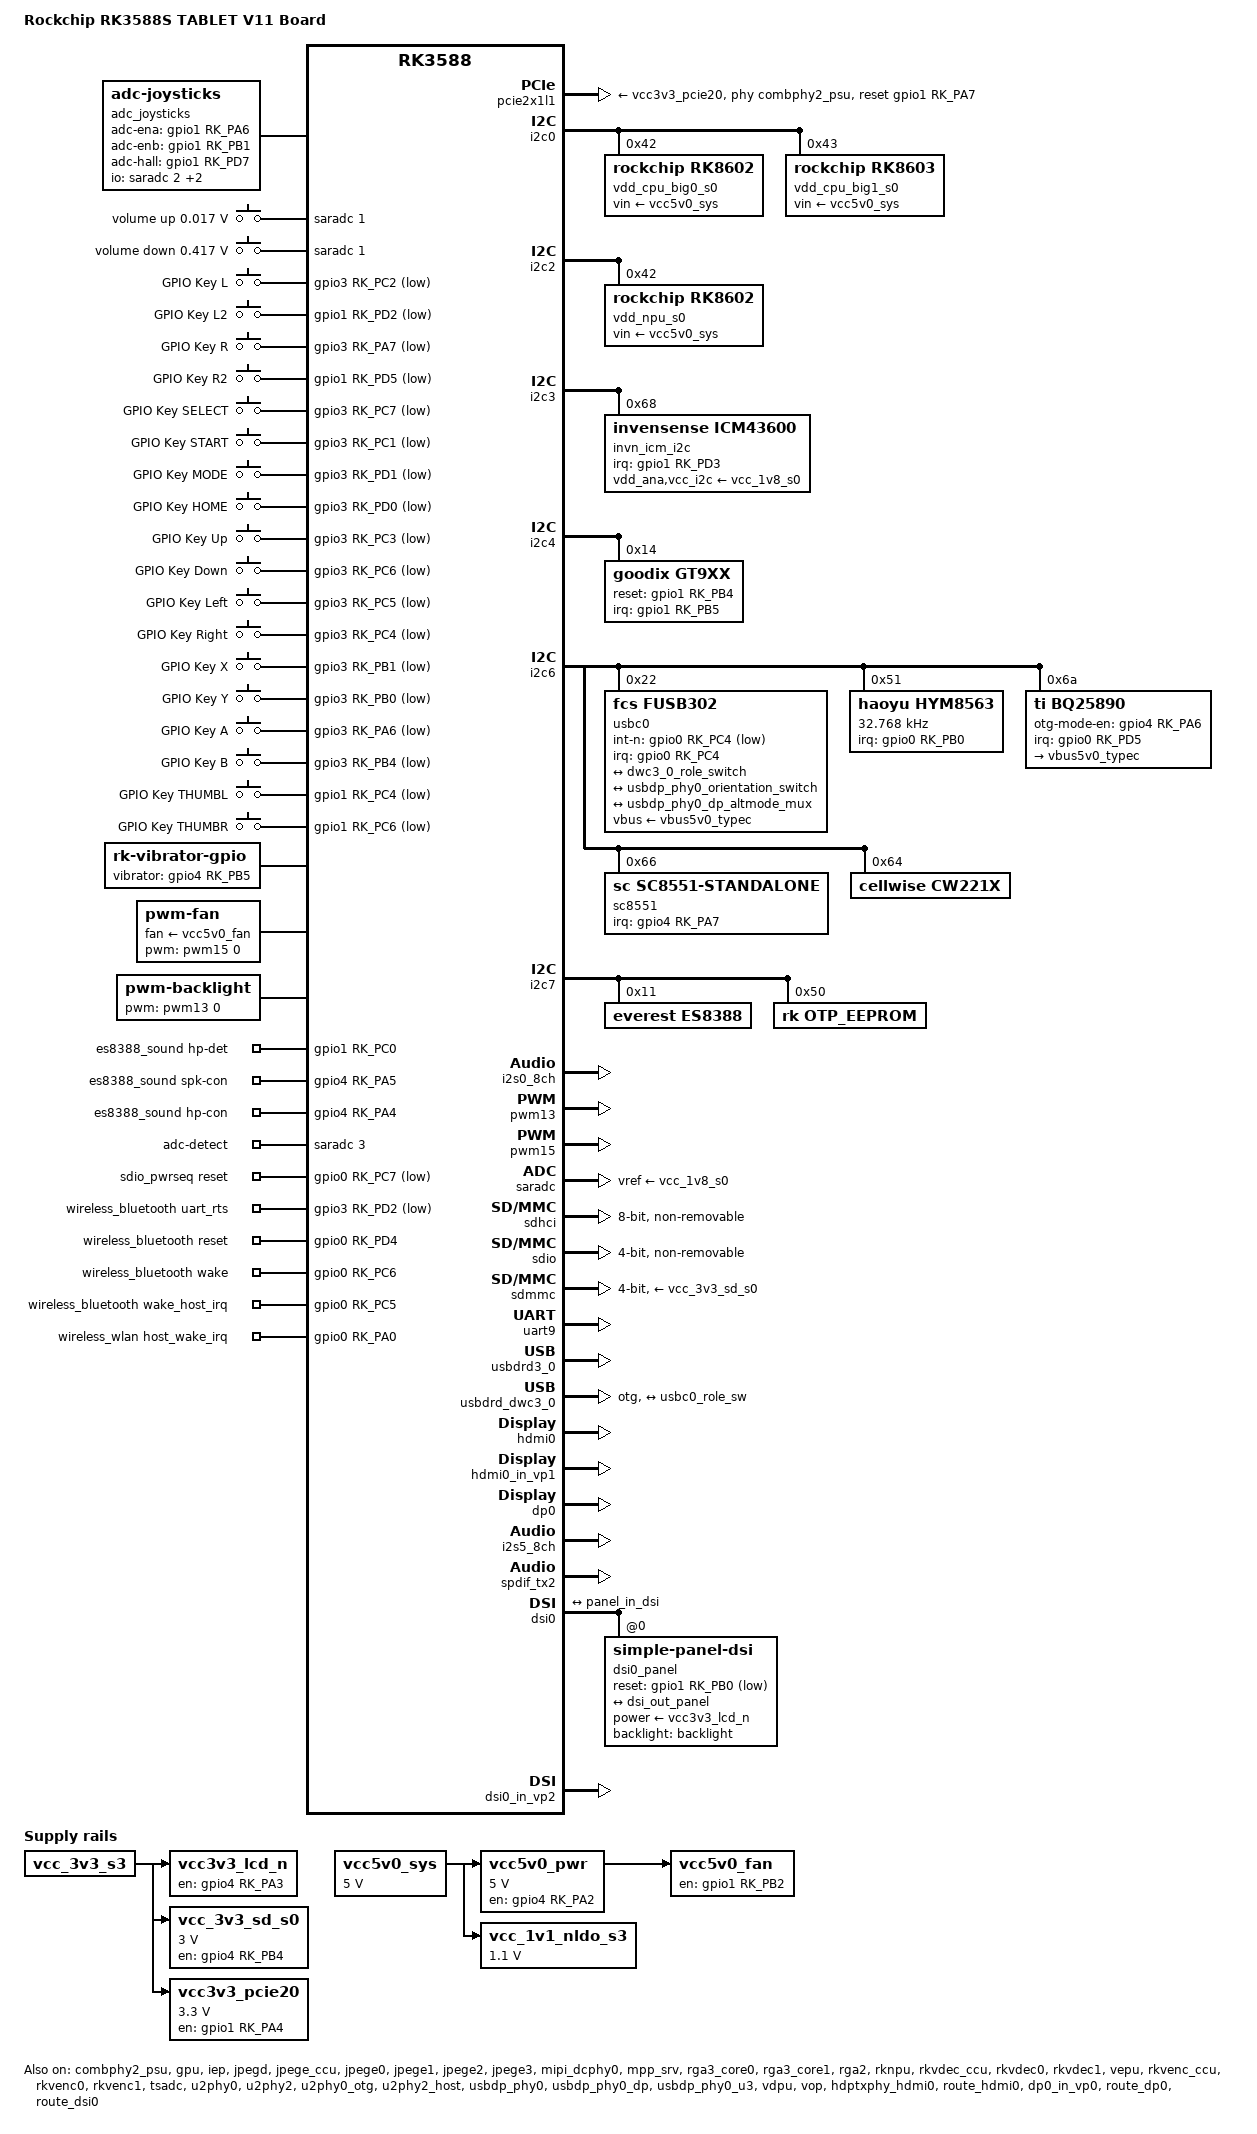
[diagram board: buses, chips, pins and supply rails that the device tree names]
// SPDX-License-Identifier: (GPL-2.0+ OR MIT)
/*
 * Copyright (c) 2021 Rockchip Electronics Co., Ltd.
 *
 */

/dts-v1/;

#include <dt-bindings/gpio/gpio.h>
#include <dt-bindings/pwm/pwm.h>
#include <dt-bindings/pinctrl/rockchip.h>
#include <dt-bindings/input/rk-input.h>
#include <dt-bindings/display/drm_mipi_dsi.h>
#include <dt-bindings/display/rockchip_vop.h>
#include <dt-bindings/sensor-dev.h>
#include <dt-bindings/usb/pd.h>
#include "rk3588s.dtsi"
#include "rk3588-android.dtsi"
#include "rk3588-rk806-single.dtsi"

/ {
	model = "Rockchip RK3588S TABLET V11 Board";
	compatible = "rockchip,rk3588s-tablet-single-D82", "rockchip,rk3588";


	adc_joysticks: adc-joysticks {
		compatible = "adc-joysticks";
		io-channels = <&saradc 2>, <&saradc 4>, <&saradc 5>;
		io-channel-names = "joystick_hall", "joystick_y", "joystick_x";
		adc-ena-gpios = <&gpio1 RK_PA6 GPIO_ACTIVE_HIGH>;
		adc-enb-gpios = <&gpio1 RK_PB1 GPIO_ACTIVE_HIGH>;
		adc-hall-gpios = <&gpio1 RK_PD7 GPIO_ACTIVE_HIGH>;
		keyup-threshold-microvolt = <900000>;
		poll-interval = <35>;
	};

	adc_keys: adc-keys {
		compatible = "adc-keys";
		io-channels = <&saradc 1>;
		io-channel-names = "buttons";
		keyup-threshold-microvolt = <1800000>;
		poll-interval = <100>;

		vol-up-key {
			label = "volume up";
			linux,code = <KEY_VOLUMEUP>;
			press-threshold-microvolt = <17000>;
		};

		vol-down-key {
			label = "volume down";
			linux,code = <KEY_VOLUMEDOWN>;
			press-threshold-microvolt = <417000>;
		};
	};

	gpio_keys: gpio-keys {
		status = "okay";
		compatible = "gpio-keys";
		pinctrl-names = "default";
		pinctrl-0 = <&gpio_key_pin>;
		autorepeat;

		keyL {
			label = "GPIO Key L";
			debounce-interval = <10>;
			gpios = <&gpio3 RK_PC2 GPIO_ACTIVE_LOW>;
			linux,input-type = <EV_KEY>;
			linux,code = <BTN_TL>;
		};

		keyL2 {
			label = "GPIO Key L2";
			debounce-interval = <10>;
			gpios = <&gpio1 RK_PD2 GPIO_ACTIVE_LOW>;
			linux,input-type = <EV_KEY>;
			linux,code = <BTN_TL2>;
		};

		keyR {
			label = "GPIO Key R";
			debounce-interval = <10>;
			gpios = <&gpio3 RK_PA7 GPIO_ACTIVE_LOW>;
			linux,input-type = <EV_KEY>;
			linux,code = <BTN_TR>;
		};

		keyR2 {
			label = "GPIO Key R2";
			debounce-interval = <10>;
			gpios = <&gpio1 RK_PD5 GPIO_ACTIVE_LOW>;
			linux,input-type = <EV_KEY>;
			linux,code = <BTN_TR2>;
		};

		select {
			label = "GPIO Key SELECT";
			debounce-interval = <10>;
			gpios = <&gpio3 RK_PC7 GPIO_ACTIVE_LOW>;
			linux,input-type = <EV_KEY>;
			linux,code = <BTN_SELECT>;
		};

		start {
			label = "GPIO Key START";
			debounce-interval = <10>;
			gpios = <&gpio3 RK_PC1 GPIO_ACTIVE_LOW>;
			linux,input-type = <EV_KEY>;
			linux,code = <BTN_START>;
		};

		mode {
			label = "GPIO Key MODE";
			debounce-interval = <10>;
			gpios = <&gpio3 RK_PD1 GPIO_ACTIVE_LOW>;
			linux,input-type = <EV_KEY>;
			linux,code = <BTN_MODE>;
		};

		home-key {
			label = "GPIO Key HOME";
			debounce-interval = <10>;
			gpios = <&gpio3 RK_PD0 GPIO_ACTIVE_LOW>;
			linux,input-type = <EV_KEY>;
			// linux,code = <KEY_HOME>;
			linux,code = <KEY_HOMEPAGE>;
		};

		up {
			label = "GPIO Key Up";
			debounce-interval = <10>;
			gpios = <&gpio3 RK_PC3 GPIO_ACTIVE_LOW>;
			linux,input-type = <EV_KEY>;
			linux,code = <KEY_UP>;
		};

		down {
			label = "GPIO Key Down";
			debounce-interval = <10>;
			gpios = <&gpio3 RK_PC6 GPIO_ACTIVE_LOW>;
			linux,input-type = <EV_KEY>;
			linux,code = <KEY_DOWN>;
		};

		left {
			label = "GPIO Key Left";
			debounce-interval = <10>;
			gpios = <&gpio3 RK_PC5 GPIO_ACTIVE_LOW>;
			linux,input-type = <EV_KEY>;
			linux,code = <KEY_LEFT>;
		};

		right {
			label = "GPIO Key Right";
			debounce-interval = <10>;
			gpios = <&gpio3 RK_PC4 GPIO_ACTIVE_LOW>;
			linux,input-type = <EV_KEY>;
			linux,code = <KEY_RIGHT>;
		};

		keyX {
			label = "GPIO Key X";
			debounce-interval = <10>;
			gpios = <&gpio3 RK_PB1 GPIO_ACTIVE_LOW>;
			linux,input-type = <EV_KEY>;
			linux,code = <BTN_X>;
		};

		keyY {
			label = "GPIO Key Y";
			debounce-interval = <10>;
			gpios = <&gpio3 RK_PB0 GPIO_ACTIVE_LOW>;
			linux,input-type = <EV_KEY>;
			linux,code = <BTN_Y>;
		};

		keyA {
			label = "GPIO Key A";
			debounce-interval = <10>;
			gpios = <&gpio3 RK_PA6 GPIO_ACTIVE_LOW>;
			linux,input-type = <EV_KEY>;
			linux,code = <BTN_A>;
		};

		keyB {
			label = "GPIO Key B";
			debounce-interval = <10>;
			gpios = <&gpio3 RK_PB4 GPIO_ACTIVE_LOW>;
			linux,input-type = <EV_KEY>;
			linux,code = <BTN_B>;
		};

		ThumbL {
			label = "GPIO Key THUMBL";
			debounce-interval = <10>;
			gpios = <&gpio1 RK_PC4 GPIO_ACTIVE_LOW>;
			linux,input-type = <EV_KEY>;
			linux,code = <BTN_THUMBL>;
		};

		ThumbR {
			label = "GPIO Key THUMBR";
			debounce-interval = <10>;
			gpios = <&gpio1 RK_PC6 GPIO_ACTIVE_LOW>;
			linux,input-type = <EV_KEY>;
			linux,code = <BTN_THUMBR>;
		};
	};

	vibrator {
        compatible = "rk-vibrator-gpio";
        vibrator-gpio = <&gpio4 RK_PB5 GPIO_ACTIVE_HIGH>;
    };

	fan: pwm-fan {
		compatible = "pwm-fan";
		#cooling-cells = <2>;
		pwms = <&pwm15 0 50000 1>;
		fan-supply = <&vcc5v0_fan>;
		cooling-levels = <0 100 150 200 255>;
		rockchip,temp-trips = <
			40000	1
			55000	2
			60000	3
			70000	4
		>;
		status = "okay";
	};

	backlight: backlight {
		compatible = "pwm-backlight";
		pwms = <&pwm13 0 25000 0>;
		brightness-levels = <
			  0  20  20  21  21  22  22  23
			 23  24  24  25  25  26  26  27
			 27  28  28  29  29  30  30  31
			 31  32  32  33  33  34  34  35
			 35  36  36  37  37  38  38  39
			 40  41  42  43  44  45  46  47
			 48  49  50  51  52  53  54  55
			 56  57  58  59  60  61  62  63
			 64  65  66  67  68  69  70  71
			 72  73  74  75  76  77  78  79
			 80  81  82  83  84  85  86  87
			 88  89  90  91  92  93  94  95
			 96  97  98  99 100 101 102 103
			104 105 106 107 108 109 110 111
			112 113 114 115 116 117 118 119
			120 121 122 123 124 125 126 127
			128 129 130 131 132 133 134 135
			136 137 138 139 140 141 142 143
			144 145 146 147 148 149 150 151
			152 153 154 155 156 157 158 159
			160 161 162 163 164 165 166 167
			168 169 170 171 172 173 174 175
			176 177 178 179 180 181 182 183
			184 185 186 187 188 189 190 191
			192 193 194 195 196 197 198 199
			200 201 202 203 204 205 206 207
			208 209 210 211 212 213 214 215
			216 217 218 219 220 221 222 223
			224 225 226 227 228 229 230 231
			232 233 234 235 236 237 238 239
			240 241 242 243 244 245 246 247
			248 249 250 251 252 253 254 255
		>;
		default-brightness-level = <200>;
	};

	charge-animation {
		compatible = "rockchip,uboot-charge";
		rockchip,uboot-charge-on = <0>;
		rockchip,android-charge-on = <1>;
		rockchip,uboot-low-power-voltage = <3400>;
		rockchip,screen-on-voltage = <3450>;
		rockchip,uboot-exit-charge-level = <2>;
		rockchip,uboot-exit-charge-voltage = <3600>;
		rockchip,uboot-exit-charge-auto = <0>;
		rockchip,system-suspend = <1>;
		regulator-on-in-mem = <&vdd_log_s0>, <&vcc_2v0_pldo_s3>,
			<&vdd2_ddr_s3>, <&vcc_1v8_s3>, <&avcc_1v8_s0>,
			<&vdd_0v75_s3>, <&pldo6_s3>;

		regulator-off-in-mem = <&vdd_gpu_s0>, <&vdd_npu_s0>,
			<&vdd_vdenc_s0>, <&vdd_gpu_mem_s0>, <&vdd_npu_mem_s0>,
			<&vdd_vdenc_mem_s0>, <&vcc_1v8_s0>, <&vcc_3v3_s0>,
			<&vccio_sd_s0>, <&avdd_0v75_s0>, <&vdd_0v85_s0>,
			<&vdd_cpu_big1_s0>, <&vdd_cpu_big0_s0>, <&vdd_cpu_lit_s0>,
			<&vdd_cpu_big1_mem_s0>, <&vdd_cpu_big0_mem_s0>, <&vdd_cpu_lit_mem_s0>,
			<&vddq_ddr_s0>, <&vdd_ddr_s0>, <&vdd_ddr_pll_s0>,
			<&avdd_1v2_s0>, <&vdd_0v75_s0>, <&vcc_3v3_s3>;
		status = "okay";
	};

	hdmi0_sound: hdmi0-sound {
		status = "okay";
		compatible = "rockchip,hdmi";
		rockchip,mclk-fs = <128>;
		rockchip,card-name = "rockchip-hdmi0";
		rockchip,cpu = <&i2s5_8ch>;
		rockchip,codec = <&hdmi0>;
		rockchip,jack-det;
	};

	dp0_sound: dp0-sound {
		status = "okay";
		compatible = "rockchip,hdmi";
		rockchip,card-name= "rockchip-hdmi1";
		rockchip,mclk-fs = <512>;
		rockchip,cpu = <&spdif_tx2>;
		rockchip,codec = <&dp0 1>;
		rockchip,jack-det;
	};

	es8388_sound: es8388-sound {
		status = "okay";
		compatible = "rockchip,multicodecs-card";
		rockchip,card-name = "rockchip,es8388-codec";
		hp-det-gpio = <&gpio1 RK_PC0 GPIO_ACTIVE_HIGH>;
		io-channels = <&saradc 3>;
		io-channel-names = "adc-detect";
		keyup-threshold-microvolt = <1800000>;
		poll-interval = <100>;
		spk-con-gpio = <&gpio4 RK_PA5 GPIO_ACTIVE_HIGH>;
		hp-con-gpio = <&gpio4 RK_PA4 GPIO_ACTIVE_HIGH>;
		rockchip,format = "i2s";
		rockchip,mclk-fs = <256>;
		rockchip,cpu = <&i2s0_8ch>;
		rockchip,codec = <&es8388>;
		rockchip,audio-routing =
			"Headphone", "LOUT1",
			"Headphone", "ROUT1",
			"Speaker", "LOUT2",
			"Speaker", "ROUT2",
			"Headphone", "Headphone Power",
			"Headphone", "Headphone Power",
			"Speaker", "Speaker Power",
			"Speaker", "Speaker Power",
			"LINPUT1", "Main Mic",
			"LINPUT2", "Main Mic",
			"RINPUT1", "Headset Mic",
			"RINPUT2", "Headset Mic";
		pinctrl-names = "default";
		pinctrl-0 = <&hp_det>;
		play-pause-key {
			label = "playpause";
			linux,code = <KEY_PLAYPAUSE>;
			press-threshold-microvolt = <2000>;
		};
	};

	vcc5v0_sys: vcc5v0-sys {
		compatible = "regulator-fixed";
		regulator-name = "vcc5v0_sys";
		regulator-always-on;
		regulator-boot-on;
		regulator-min-microvolt = <5000000>;
		regulator-max-microvolt = <5000000>;
	};

	vcc5v0_pwr: vcc5v0-pwr {
		compatible = "regulator-fixed";
		regulator-name = "vcc5v0_pwr";
		regulator-always-on;
		regulator-boot-on;
		regulator-min-microvolt = <5000000>;
		regulator-max-microvolt = <5000000>;
		enable-active-high;
		gpio = <&gpio4 RK_PA2 GPIO_ACTIVE_HIGH>;
		vin-supply = <&vcc5v0_sys>;
		pinctrl-names = "default";
		pinctrl-0 = <&vcc5v0_pwr_en>;
	};

	vcc5v0_fan: vcc5v0-fan {
		compatible = "regulator-fixed";
		regulator-name = "vcc5v0_fan";
		regulator-always-on;
		regulator-boot-on;
		enable-active-high;
		gpio = <&gpio1 RK_PB2 GPIO_ACTIVE_HIGH>;
		vin-supply = <&vcc5v0_pwr>;
	};

	vcc_1v1_nldo_s3: vcc-1v1-nldo-s3 {
		compatible = "regulator-fixed";
		regulator-name = "vcc_1v1_nldo_s3";
		regulator-always-on;
		regulator-boot-on;
		regulator-min-microvolt = <1100000>;
		regulator-max-microvolt = <1100000>;
		vin-supply = <&vcc5v0_sys>;
	};

	vcc3v3_lcd_n: vcc3v3-lcd0-n {
		compatible = "regulator-fixed";
		regulator-name = "vcc3v3_lcd0_n";
		regulator-boot-on;
		gpio = <&gpio4 RK_PA3 GPIO_ACTIVE_HIGH>;
		enable-active-high;
		vin-supply = <&vcc_3v3_s3>;
	};
	
	vcc_3v3_sd_s0: vcc-3v3-sd-s0-regulator {
		compatible = "regulator-fixed";
		enable-active-high;
		gpio = <&gpio4 RK_PB4 GPIO_ACTIVE_HIGH>;
		pinctrl-names = "default";
		pinctrl-0 = <&sd_s0_pwr>;
		regulator-always-on;
		regulator-max-microvolt = <3000000>;
		regulator-min-microvolt = <3000000>;
		regulator-name = "vcc_3v3_sd_s0";
		vin-supply = <&vcc_3v3_s3>;
	};

	vcc3v3_pcie20: vcc3v3-pcie20 {
		compatible = "regulator-fixed";
		regulator-name = "vcc3v3_pcie20";
		regulator-min-microvolt = <3300000>;
		regulator-max-microvolt = <3300000>;
		enable-active-high;
		gpios = <&gpio1 RK_PA4 GPIO_ACTIVE_HIGH>;
		startup-delay-us = <5000>;
		vin-supply = <&vcc_3v3_s3>;
	};

	sdio_pwrseq: sdio-pwrseq {
		compatible = "mmc-pwrseq-simple";
		clocks = <&hym8563>;
		clock-names = "ext_clock";
		pinctrl-names = "default";
		pinctrl-0 = <&wifi_enable_h>;
		/*
		 * On the module itself this is one of these (depending
		 * on the actual card populated):
		 * - SDIO_RESET_L_WL_REG_ON
		 * - PDN (power down when low)
		 */
		post-power-on-delay-ms = <200>;
		reset-gpios = <&gpio0 RK_PC7 GPIO_ACTIVE_LOW>;
	};

	wireless_bluetooth: wireless-bluetooth {
		compatible = "bluetooth-platdata";
		clocks = <&hym8563>;
		clock-names = "ext_clock";
		uart_rts_gpios = <&gpio3 RK_PD2 GPIO_ACTIVE_LOW>;
		pinctrl-names = "default", "rts_gpio";
		pinctrl-0 = <&uart9m2_rtsn>, <&bt_reset_gpio>, <&bt_wake_gpio>, <&bt_irq_gpio>;
		pinctrl-1 = <&uart9_gpios>;
		BT,reset_gpio    = <&gpio0 RK_PD4 GPIO_ACTIVE_HIGH>;
		BT,wake_gpio     = <&gpio0 RK_PC6 GPIO_ACTIVE_HIGH>;
		BT,wake_host_irq = <&gpio0 RK_PC5 GPIO_ACTIVE_HIGH>;
		status = "okay";
	};

	wireless_wlan: wireless-wlan {
		compatible = "wlan-platdata";
		wifi_chip_type = "rtl8821cs";
		pinctrl-names = "default";
		pinctrl-0 = <&wifi_host_wake_irq>;
		WIFI,host_wake_irq = <&gpio0 RK_PA0 GPIO_ACTIVE_HIGH>;
		// WIFI,poweren_gpio = <&gpio0 RK_PC7 GPIO_ACTIVE_HIGH>;
		status = "okay";
	};
};

&av1d_mmu {
	status = "okay";
};

&combphy2_psu {
	status = "okay";
};

&pcie2x1l1 {
	phys = <&combphy2_psu PHY_TYPE_PCIE>;
	reset-gpios = <&gpio1 RK_PA7 GPIO_ACTIVE_HIGH>;
	vpcie3v3-supply = <&vcc3v3_pcie20>;
	status = "okay";
};

&cpu_l0 {
	cpu-supply = <&vdd_cpu_lit_s0>;
	mem-supply = <&vdd_cpu_lit_mem_s0>;
};

&cpu_b0 {
	cpu-supply = <&vdd_cpu_big0_s0>;
	mem-supply = <&vdd_cpu_big0_mem_s0>;
};

&cpu_b2 {
	cpu-supply = <&vdd_cpu_big1_s0>;
	mem-supply = <&vdd_cpu_big1_mem_s0>;
};


&gpu {
	mali-supply = <&vdd_gpu_s0>;
	mem-supply = <&vdd_gpu_mem_s0>;
	upthreshold = <60>;
	downdifferential = <30>;
	status = "okay";
};

&hdptxphy0 {
	status = "disabled";
};

&i2c0 {
	status = "okay";
	pinctrl-names = "default";
	pinctrl-0 = <&i2c0m2_xfer>;

	vdd_cpu_big0_s0: vdd_cpu_big0_mem_s0: rk8602@42 {
		compatible = "rockchip,rk8602";
		reg = <0x42>;
		vin-supply = <&vcc5v0_sys>;
		regulator-compatible = "rk860x-reg";
		regulator-name = "vdd_cpu_big0_s0";
		regulator-min-microvolt = <550000>;
		regulator-max-microvolt = <1050000>;
		regulator-ramp-delay = <2300>;
		rockchip,suspend-voltage-selector = <1>;
		regulator-boot-on;
		regulator-always-on;
		regulator-state-mem {
			regulator-off-in-suspend;
		};
	};

	vdd_cpu_big1_s0: vdd_cpu_big1_mem_s0: rk8603@43 {
		compatible = "rockchip,rk8603";
		reg = <0x43>;
		vin-supply = <&vcc5v0_sys>;
		regulator-compatible = "rk860x-reg";
		regulator-name = "vdd_cpu_big1_s0";
		regulator-min-microvolt = <550000>;
		regulator-max-microvolt = <1050000>;
		regulator-ramp-delay = <2300>;
		rockchip,suspend-voltage-selector = <1>;
		regulator-boot-on;
		regulator-always-on;
		regulator-state-mem {
			regulator-off-in-suspend;
		};
	};
};

&i2c2 {
	status = "okay";
	
	vdd_npu_s0: vdd_npu_mem_s0: rk8602@42 {
		compatible = "rockchip,rk8602";
		reg = <0x42>;
		vin-supply = <&vcc5v0_sys>;
		regulator-compatible = "rk860x-reg";
		regulator-name = "vdd_npu_s0";
		regulator-min-microvolt = <550000>;
		regulator-max-microvolt = <950000>;
		regulator-ramp-delay = <2300>;
		rockchip,suspend-voltage-selector = <1>;
		regulator-boot-on;
		regulator-always-on;
		regulator-state-mem {
			regulator-off-in-suspend;
		};
	};
};

&i2c3 {
	status = "okay";
	pinctrl-names = "default";
	pinctrl-0 = <&i2c3m1_xfer>;

	invn_icm_i2c: icm43600@68 {
		compatible = "invensense,icm43600";
		reg = <0x68>;
		interrupt-parent = <&gpio1>;
		interrupts = <RK_PD3 IRQ_TYPE_EDGE_RISING>;
		inven,vdd_ana-supply = <&vcc_1v8_s0>;
		inven,vcc_i2c-supply = <&vcc_1v8_s0>;
		axis_map_x = <0>;
		axis_map_y = <1>;
		axis_map_z = <2>;
		negate_x = <1>;
		negate_y = <1>;
		negate_z = <0>;
		inven,secondary_type = "none";
		inven,aux_type = "none";
		inven,read_only_slave_type = "none";
	};
};

&i2c4 {
	status = "okay";
	pinctrl-names = "default";
	pinctrl-0 = <&i2c4m3_xfer>;

	gt9xx: gt9xx@14 {
		status = "okay";
		compatible = "goodix,gt9xx";
		reg = <0x14>;

		pinctrl-names = "default", "int-output-low","int-output-high", "int-input";
		pinctrl-0 = <&ts_int_default>;
		pinctrl-1 = <&ts_int_output_low>;
		pinctrl-2 = <&ts_int_output_high>;
		pinctrl-3 = <&ts_int_input>;

		reset-gpios = <&gpio1 RK_PB4 GPIO_ACTIVE_HIGH>;
		irq-gpios = <&gpio1 RK_PB5 IRQ_TYPE_LEVEL_LOW>;
		irq-flags = <2>;

		touchscreen-max-id = <4>;
		touchscreen-size-x = <1080>;
		touchscreen-size-y = <1920>;
		touchscreen-max-w = <512>;
		touchscreen-max-p = <512>;
		// touchscreen-key-map = <172>, <158>; /*KEY_HOMEPAGE=172, KEY_BACK=158，KEY_MENU=139*/

		goodix,slide-wakeup = <0>;
		goodix,type-a-report = <0>;
		goodix,driver-send-cfg = <0>;
		goodix,resume-in-workqueue = <0>;
		goodix,int-sync = <1>;
		goodix,swap-x2y = <0>;
		goodix,revert-x = <0>;
		goodix,revert-y = <1>;
		goodix,esd-protect = <1>;
		goodix,auto-update-cfg = <0>;
		goodix,auto-update = <0>;
		goodix,power-off-sleep = <0>;
		goodix,pen-suppress-finger = <0>;
		goodix,cfg-group0 = [
			53 D0 02 00 05 05 F5 D5 21 48 2D 0F 5A 41 0E 05 00 00 32 32 20 00 05 14 14 1A 14 8B 2B 00
		];
	};
};

&i2c5 {
	status = "disabled";
	pinctrl-names = "default";
	pinctrl-0 = <&i2c5m3_xfer>;
};

&i2c6 {
	status = "okay";
	pinctrl-names = "default";
	pinctrl-0 = <&i2c6m3_xfer>;

	usbc0: fusb302@22 {
		compatible = "fcs,fusb302";
		reg = <0x22>;
		interrupt-parent = <&gpio0>;
		interrupts = <RK_PC4 IRQ_TYPE_LEVEL_LOW>;
		int-n-gpios = <&gpio0 RK_PC4 GPIO_ACTIVE_LOW>;
		pinctrl-names = "default";
		pinctrl-0 = <&usbc0_int>;
		vbus-supply = <&vbus5v0_typec>;
		status = "okay";

		ports {
			#address-cells = <1>;
			#size-cells = <0>;

			port@0 {
				reg = <0>;
				usbc0_role_sw: endpoint@0 {
					remote-endpoint = <&dwc3_0_role_switch>;
				};
			};
		};

		usb_con: connector {
			compatible = "usb-c-connector";
			label = "USB-C";
			data-role = "dual";
			power-role = "dual";
			try-power-role = "sink";
			op-sink-microwatt = <1000000>;
			sink-pdos =
				<PDO_FIXED(5000, 2000, PDO_FIXED_USB_COMM)
				 PDO_FIXED(9000, 2000, PDO_FIXED_USB_COMM)
				 PDO_FIXED(12000, 2000, PDO_FIXED_USB_COMM)>;
			source-pdos =
				<PDO_FIXED(5000, 3000, PDO_FIXED_USB_COMM)>;

			altmodes {
				#address-cells = <1>;
				#size-cells = <0>;

				altmode@0 {
					reg = <0>;
					svid = <0xff01>;
					vdo = <0xffffffff>;
				};
			};

			ports {
				#address-cells = <1>;
				#size-cells = <0>;

				port@0 {
					reg = <0>;
					usbc0_orien_sw: endpoint {
						remote-endpoint = <&usbdp_phy0_orientation_switch>;
					};
				};

				port@1 {
					reg = <1>;
					dp_altmode_mux: endpoint {
						remote-endpoint = <&usbdp_phy0_dp_altmode_mux>;
					};
				};
			};
		};
	};

	hym8563: hym8563@51 {
		compatible = "haoyu,hym8563";
		reg = <0x51>;
		#clock-cells = <0>;
		clock-frequency = <32768>;
		clock-output-names = "hym8563";
		pinctrl-names = "default";
		pinctrl-0 = <&rtc_int>;

		interrupt-parent = <&gpio0>;
		interrupts = <RK_PB0 IRQ_TYPE_LEVEL_LOW>;
		wakeup-source;
	};

	bq25890: charger@6a {
		compatible = "ti,bq25890";
		status = "okay";
		reg = <0x6a>;
		extcon = <&u2phy0>;
		pinctrl-names = "default";
		pinctrl-0 = <&charger_ok>;
		interrupt-parent = <&gpio0>;
		interrupts = <RK_PD5 IRQ_TYPE_EDGE_FALLING>;
		otg-mode-en-gpios = <&gpio4 RK_PA6 GPIO_ACTIVE_HIGH>;
		ti,usb-charger-detection = <&usbc0>;

		ti,battery-regulation-voltage = <4400000>; /* 4.4V */
		ti,charge-current = <4096000>; /* 1.6A */
		ti,termination-current = <66000>;  /* 66mA */
		ti,precharge-current = <130000>; /* 130mA */
		ti,minimum-sys-voltage = <3000000>; /* 3.0V */
		ti,boost-voltage = <5000000>; /* 5V */
		ti,boost-max-current = <2000000>; /* 1600mA */
		regulators {
			vbus5v0_typec: vbus5v0-typec {
				regulator-compatible = "otg-vbus";
				regulator-name = "vbus5v0_typec";
			};
		};
    };

	sc8551: sc8551@66 {
		status = "okay";
		compatible = "sc,sc8551-standalone";
		reg = <0x66>;
		interrupt-parent = <&gpio4>;
		interrupts = <RK_PA7 IRQ_TYPE_EDGE_FALLING>;

		sc,sc8551,bat-ovp-disable = <0>;
		sc,sc8551,bat-ocp-disable = <0>;
		sc,sc8551,bus-ocp-disable = <0>;

		sc,sc8551,bat-ovp-threshold = <4500>;
		sc,sc8551,bat-ocp-threshold = <4500>;

		sc,sc8551,bus-ovp-threshold = <12000>;
		sc,sc8551,bus-ocp-threshold = <4000>;

		sc,sc8551,ac-ovp-threshold = <17>;
		sc,sc8551,sense-resistor-mohm = <2>;
	};

	cw221X@64 {
		status = "okay";
		compatible = "cellwise,cw221X";
		reg = <0x64>;
		cellwise,battery-profile = /bits/ 8
			<0x17 0x67 0x6C 0x66 0x65 0x64 0x61 0x5B
			 0x5F 0x75 0x49 0x52 0x50 0x51 0x48 0x3D
			 0x34 0x2C 0x29 0x21 0x23 0x2D 0x40 0x49
			 0x25 0x5C 0x0B 0x85 0x10 0x1F 0x31 0x49
			 0x58 0x5E 0x63 0x6C 0x3E 0x1D 0x9A 0x35
			 0x0A 0x33 0x15 0x3B 0x70 0x99 0xAB 0x17
			 0x40 0x75 0x99 0xC4 0x80 0xB5 0xDE 0xCB
			 0x2F 0x00 0x64 0xA5 0xB5 0x00 0xF8 0x39>;
		cellwise,dual-cell = <1>;
		cellwise,monitor-interval-ms = <5000>;
		power-supplies = <&bq25890>;
	};
};

&i2c7 {
	status = "okay";
	pinctrl-names = "default";
	pinctrl-0 = <&i2c7m0_xfer>;

	es8388: es8388@11 {
		status = "okay";
		#sound-dai-cells = <0>;
		compatible = "everest,es8388", "everest,es8323";
		reg = <0x11>;
		clocks = <&cru I2S0_8CH_MCLKOUT>;
		clock-names = "mclk";
		assigned-clocks = <&cru I2S0_8CH_MCLKOUT>;
		assigned-clock-rates = <12288000>;
		pinctrl-names = "default";
		pinctrl-0 = <&i2s0_mclk>;
	};

	otp_eeprom: otp_eeprom@50 {
		compatible = "rk,otp_eeprom";
		status = "okay";
		reg = <0x50>;
	};
};

&i2c8 {
	status = "disabled";
	pinctrl-names = "default";
	pinctrl-0 = <&i2c8m2_xfer>;
};

&i2s0_8ch {
	status = "okay";
	rockchip,clk-trcm = <1>;
	pinctrl-0 = <&i2s0_lrck
		     &i2s0_sclk
		     &i2s0_sdi0
		     &i2s0_sdo0>;
};

&iep {
	status = "okay";
};

&iep_mmu {
	status = "okay";
};

&jpegd {
	status = "okay";
};

&jpegd_mmu {
	status = "okay";
};

&jpege_ccu {
	status = "okay";
};

&jpege0 {
	status = "okay";
};

&jpege0_mmu {
	status = "okay";
};

&jpege1 {
	status = "okay";
};

&jpege1_mmu {
	status = "okay";
};

&jpege2 {
	status = "okay";
};

&jpege2_mmu {
	status = "okay";
};

&jpege3 {
	status = "okay";
};

&jpege3_mmu {
	status = "okay";
};

&mipi_dcphy0 {
	status = "okay";
};

&mipi_dcphy1 {
	status = "disabled";
};

&mipi0_csi2 {
	status = "disabled";
};

&mipi1_csi2 {
	status = "disabled";
};

&mpp_srv {
	status = "okay";
};

&pdm0 {
	// rockchip,path-map = <2 0 1 3>;
	status = "disabled";
};

&pinctrl {
	buttons {
		gpio_key_pin: gpio-key-pin {
			rockchip,pins = //<1 RK_PC4 RK_FUNC_GPIO &pcfg_pull_up>,
			                //<1 RK_PC6 RK_FUNC_GPIO &pcfg_pull_up>,
			                <1 RK_PD2 RK_FUNC_GPIO &pcfg_pull_up>,
			                <1 RK_PD5 RK_FUNC_GPIO &pcfg_pull_up>,
			                <3 RK_PA6 RK_FUNC_GPIO &pcfg_pull_up>,
			                <3 RK_PA7 RK_FUNC_GPIO &pcfg_pull_up>,
			                <3 RK_PB0 RK_FUNC_GPIO &pcfg_pull_up>,
			                <3 RK_PB1 RK_FUNC_GPIO &pcfg_pull_up>,
			                <3 RK_PB4 RK_FUNC_GPIO &pcfg_pull_up>,
			                <3 RK_PC1 RK_FUNC_GPIO &pcfg_pull_up>,
			                <3 RK_PC2 RK_FUNC_GPIO &pcfg_pull_up>,
			                <3 RK_PC3 RK_FUNC_GPIO &pcfg_pull_up>,
			                <3 RK_PC4 RK_FUNC_GPIO &pcfg_pull_up>,
			                <3 RK_PC5 RK_FUNC_GPIO &pcfg_pull_up>,
			                <3 RK_PC6 RK_FUNC_GPIO &pcfg_pull_up>,
			                <3 RK_PC7 RK_FUNC_GPIO &pcfg_pull_up>,
			                <3 RK_PD0 RK_FUNC_GPIO &pcfg_pull_up>,
			                <3 RK_PD1 RK_FUNC_GPIO &pcfg_pull_up>;
		};
	};

	charger {
		charger_ok: charger_ok {
			rockchip,pins = <0 RK_PD5 RK_FUNC_GPIO &pcfg_pull_up>;
		};
	};

	headphone {
		hp_det: hp-det {
			rockchip,pins = <1 RK_PC0 RK_FUNC_GPIO &pcfg_pull_none>;
		};
	};

	hym8563 {
		rtc_int: rtc-int {
			rockchip,pins = <0 RK_PB0 RK_FUNC_GPIO &pcfg_pull_up>;
		};
	};

	sdio-pwrseq {
		wifi_enable_h: wifi-enable-h {
			rockchip,pins = <0 RK_PC7 RK_FUNC_GPIO &pcfg_pull_none>;
		};
	};

	sdmmc {
		sd_s0_pwr: sd-s0-pwr {
			rockchip,pins = <4 RK_PB4 RK_FUNC_GPIO &pcfg_pull_up>;
		};
	};

	gt9xx {
		ts_int_default: ts-int-default {
			rockchip,pins = <1 RK_PB5 RK_FUNC_GPIO &pcfg_pull_up>;
		};

		ts_int_output_low: ts-int-output-low {
			rockchip,pins = <1 RK_PB5 RK_FUNC_GPIO &pcfg_output_low_pull_up>;
		};

		ts_int_output_high: ts-int-output-high {
			rockchip,pins = <1 RK_PB5 RK_FUNC_GPIO &pcfg_output_high_pull_up>;
		};

		ts_int_input: ts-int-input {
			rockchip,pins = <1 RK_PB5 RK_FUNC_GPIO &pcfg_pull_up>;
		};
	};

	power {
		vcc5v0_pwr_en: vcc5v0-pwr-en {
			rockchip,pins = <4 RK_PA2 RK_FUNC_GPIO &pcfg_pull_none>;
		};
	};

	usb-typec {
		usbc0_int: usbc0-int {
			rockchip,pins = <0 RK_PC4 RK_FUNC_GPIO &pcfg_pull_up>;
		};
		
		typec5v_pwren: typec5v-pwren {
			rockchip,pins = <0 RK_PB2 RK_FUNC_GPIO &pcfg_pull_none>;
		};
	};

	wireless-bluetooth {
		uart9_gpios: uart9-gpios {
			rockchip,pins = <3 RK_PD2 RK_FUNC_GPIO &pcfg_pull_none>;
		};

		bt_reset_gpio: bt-reset-gpio {
			rockchip,pins = <0 RK_PD4 RK_FUNC_GPIO &pcfg_pull_none>;
		};

		bt_wake_gpio: bt-wake-gpio {
			rockchip,pins = <0 RK_PC6 RK_FUNC_GPIO &pcfg_pull_up>;
		};

		bt_irq_gpio: bt-irq-gpio {
			rockchip,pins = <0 RK_PC5 RK_FUNC_GPIO &pcfg_pull_down>;
		};
	};

	wireless-wlan {
		wifi_host_wake_irq: wifi-host-wake-irq {
			rockchip,pins = <0 RK_PA0 RK_FUNC_GPIO &pcfg_pull_down>;
		};

		/*wifi_poweren_gpio: wifi-poweren-gpio {
			rockchip,pins = <0 RK_PC7 RK_FUNC_GPIO &pcfg_pull_up>;
		};*/
	};

	lcd {
		lcd_rst_gpio: lcd-rst-gpio {
			rockchip,pins = <1 RK_PB0 RK_FUNC_GPIO &pcfg_pull_none>;
		};
	};
};

&pwm12 {
	status = "disable";
	pinctrl-0 = <&pwm12m1_pins>;
};

&pwm13 {
	status = "okay";
	pinctrl-0 = <&pwm13m1_pins>;
};

&pwm15 {
	status = "okay";
	pinctrl-0 = <&pwm15m1_pins>;
};

&rga3_core0 {
	status = "okay";
};

&rga3_0_mmu {
	status = "okay";
};

&rga3_core1 {
	status = "okay";
};

&rga3_1_mmu {
	status = "okay";
};

&rga2 {
	status = "okay";
};

&rkcif {
	status = "disabled";
};

&rkcif_mipi_lvds {
	status = "disabled";
};

&rkcif_mipi_lvds_sditf {
	status = "disabled";
};

&rkcif_mipi_lvds1 {
	status = "disabled";
};

&rkcif_mipi_lvds1_sditf {
	status = "disabled";
};

&rkcif_mmu {
	status = "disabled";
};

&rkisp_unite {
	status = "disabled";

};

&rkisp_unite_mmu {
	status = "disabled";
};

&rkisp0_vir0 {
	status = "disabled";
};

&rknpu {
	rknpu-supply = <&vdd_npu_s0>;
	mem-supply = <&vdd_npu_mem_s0>;
	status = "okay";
};

&rknpu_mmu {
	status = "okay";
};

&rkvdec_ccu {
	status = "okay";
};

&rkvdec0 {
	status = "okay";
};

&rkvdec0_mmu {
	status = "okay";
};

&rkvdec1 {
	status = "okay";
};

&rkvdec1_mmu {
	status = "okay";
};

&vepu {
	status = "okay";
};

&rkvenc_ccu {
	status = "okay";
};

&rkvenc0 {
	status = "okay";
};

&rkvenc0_mmu {
	status = "okay";
};

&rkvenc1 {
	status = "okay";
};

&rkvenc1_mmu {
	status = "okay";
};

&rockchip_suspend {
	status = "okay";
	rockchip,sleep-debug-en = <1>;
};


&saradc {
	status = "okay";
	vref-supply = <&vcc_1v8_s0>;
};

&sdhci {
	bus-width = <8>;
	no-sdio;
	no-sd;
	non-removable;
	max-frequency = <200000000>;
	mmc-hs400-1_8v;
	mmc-hs400-enhanced-strobe;
	status = "okay";
};

&sdio {
	max-frequency = <100000000>;
	no-sd;
	no-mmc;
	bus-width = <4>;
	disable-wp;
	cap-sd-highspeed;
	cap-sdio-irq;
	keep-power-in-suspend;
	mmc-pwrseq = <&sdio_pwrseq>;
	non-removable;
	pinctrl-names = "default";
	pinctrl-0 = <&sdiom1_pins>;
	sd-uhs-sdr104;
	status = "okay";
};

&sdmmc {
	max-frequency = <200000000>;
	supports-sd;
	no-sdio;
	no-mmc;
	bus-width = <4>;
	cap-mmc-highspeed;
	cap-sd-highspeed;
	disable-wp;
	sd-uhs-sdr104;
	vmmc-supply = <&vcc_3v3_sd_s0>;
	vqmmc-supply = <&vccio_sd_s0>;
	pinctrl-names = "default";
	pinctrl-0 = <&sdmmc_bus4 &sdmmc_clk &sdmmc_cmd &sdmmc_det>;
	status = "okay";
};

&tsadc {
	status = "okay";
};

// BT UART
&uart9 {
	pinctrl-names = "default";
	pinctrl-0 = <&uart9m2_xfer &uart9m2_ctsn>;
	status = "okay";
};

&u2phy0 {
	status = "okay";
};

&u2phy2 {
	status = "okay";
};

&u2phy0_otg {
	rockchip,typec-vbus-det;
	status = "okay";
};

&u2phy2_host {
	status = "okay";
};

&u2phy3 {
	status = "disabled";
};

&u2phy3_host {
	status = "disabled";
};

&usb_host0_ehci {
	status = "disabled";
};

&usb_host0_ohci {
	status = "disabled";
};

&usbdp_phy0 {
	orientation-switch;
	svid = <0xff01>;
	sbu1-dc-gpios = <&gpio4 RK_PA0 GPIO_ACTIVE_HIGH>;
	sbu2-dc-gpios = <&gpio4 RK_PA1 GPIO_ACTIVE_HIGH>;
	rockchip,dp-lane-mux = <2 3>;
	status = "okay";

	port {
		#address-cells = <1>;
		#size-cells = <0>;
		usbdp_phy0_orientation_switch: endpoint@0 {
			reg = <0>;
			remote-endpoint = <&usbc0_orien_sw>;
		};

		usbdp_phy0_dp_altmode_mux: endpoint@1 {
			reg = <1>;
			remote-endpoint = <&dp_altmode_mux>;
		};
	};
};

&usbdp_phy0_dp {
	status = "okay";
};

&usbdp_phy0_u3 {
	status = "okay";
};

&usbdrd3_0 {
	status = "okay";
};

&usbdrd_dwc3_0 {
	dr_mode = "otg";
	status = "okay";

	usb-role-switch;
	port {
		#address-cells = <1>;
		#size-cells = <0>;
		dwc3_0_role_switch: endpoint@0 {
			reg = <0>;
			remote-endpoint = <&usbc0_role_sw>;
		};
	};
};

&usbhost3_0 {
	status = "disabled";
};

&usbhost_dwc3_0 {
	status = "disabled";
};

&vdpu {
	status = "okay";
};

&vdpu_mmu {
	status = "okay";
};

&vop {
	assigned-clocks = <&cru ACLK_VOP>;
	assigned-clock-rates = <800000000>;
	status = "okay";
};

&vop_mmu {
	status = "okay";
};

&display_subsystem {
    clocks = <&hdptxphy_hdmi_clk0>;
    clock-names = "hdmi0_phy_pll";
};

/* vp0 & vp1 splice for 8K output */
&vp0 {
	rockchip,plane-mask = <(1 << ROCKCHIP_VOP2_CLUSTER0 | 1 << ROCKCHIP_VOP2_ESMART0)>;
	rockchip,primary-plane = <ROCKCHIP_VOP2_CLUSTER0>;
	cursor-win-id = <ROCKCHIP_VOP2_ESMART0>;
};

&vp1 {
	rockchip,plane-mask = <(1 << ROCKCHIP_VOP2_CLUSTER1 | 1 << ROCKCHIP_VOP2_ESMART1)>;
	rockchip,primary-plane = <ROCKCHIP_VOP2_CLUSTER1>;
	cursor-win-id = <ROCKCHIP_VOP2_ESMART1>;
};

&vp2 {
	rockchip,plane-mask = <(1 << ROCKCHIP_VOP2_CLUSTER2 | 1 << ROCKCHIP_VOP2_ESMART2)>;
	rockchip,primary-plane = <ROCKCHIP_VOP2_CLUSTER2>;
	cursor-win-id = <ROCKCHIP_VOP2_ESMART2>;
};

&vp3 {
	rockchip,plane-mask = <(1 << ROCKCHIP_VOP2_CLUSTER3 | 1 << ROCKCHIP_VOP2_ESMART3)>;
	rockchip,primary-plane = <ROCKCHIP_VOP2_CLUSTER3>;
	cursor-win-id = <ROCKCHIP_VOP2_ESMART3>;
};

&hdmi0 {
	///enable-gpios = <&gpio4 RK_PB2 GPIO_ACTIVE_HIGH>;
	cec-enable = "true";
	status = "okay";
};

&hdmi0_in_vp1 {
	status = "okay";
};

&hdmi0_sound {
	status = "okay";
};

&hdptxphy_hdmi0 {
	status = "okay";
};

&route_hdmi0 {
	status = "okay";
	connect = <&vp1_out_hdmi0>;
};

&dp0 {
	status = "okay";
};

&dp0_in_vp0 {
	status = "okay";
};

&route_dp0 {
	status = "okay";
	connect = <&vp0_out_dp0>;
};

&i2s5_8ch {
	status = "okay";
};

&spdif_tx2 {
	status = "okay";
};

/*
 * mipi_dcphy0 needs to be enabled
 * when dsi0 is enabled
 */
&dsi0 {
	status = "okay";
	// rockchip,lane-rate = <800>;
	dsi0_panel: panel@0 {
		status = "okay";	
		compatible = "simple-panel-dsi";
		reg = <0>;
		
		power-supply = <&vcc3v3_lcd_n>;
		reset-gpios = <&gpio1 RK_PB0 GPIO_ACTIVE_LOW>;
		pinctrl-names = "default";
		pinctrl-0 = <&lcd_rst_gpio>;
		backlight = <&backlight>;

		init-delay-ms = <60>;
		reset-delay-ms = <60>;
		enable-delay-ms = <60>;
		prepare-delay-ms = <60>;
		unprepare-delay-ms = <60>;
		disable-delay-ms = <60>;
		dsi,flags = <(MIPI_DSI_MODE_VIDEO | MIPI_DSI_MODE_VIDEO_BURST |
				MIPI_DSI_MODE_LPM | MIPI_DSI_MODE_EOT_PACKET)>;
		dsi,format = <MIPI_DSI_FMT_RGB888>;
		dsi,lanes  = <4>;

		panel-init-sequence = [
			39 00 04 B9 FF 83 99
			15 00 02 BA 43
			15 00 02 D2 44
			39 00 0D B1 00 7C 34 34 44 09 22 22 71 F1 B2 4A
			39 00 0B B2 00 80 00 7F 05 07 23 4D 02 01
			39 00 29 B4 00 FF 02 40 02 40 00 00 06 00 01 02 00 0F 01 02 05 20 00 04 44 02 40 02 40 00 00 06 00 01 02 00 0F 01 02 05 00 00 04 44
			39 00 20 D3 00 01 00 00 00 06 00 00 10 04 00 04 00 00 00 00 00 00 00 00 00 00 01 05 05 07 00 00 00 05 08
			39 00 21 D5 18 18 19 19 18 18 21 20 01 00 07 06 05 04 03 02 18 18 18 18 18 18 30 30 31 31 32 32 18 18 18 18
			39 00 21 D6 18 18 19 19 40 40 20 21 06 07 00 01 02 03 04 05 40 40 40 40 40 40 30 30 31 31 32 32 40 40 40 40
			39 00 31 D8 A2 AA 02 A0 A2 A8 02 A0 B0 00 00 00 B0 00 00 00 B0 00 00 00 B0 00 00 00 E2 AA 03 F0 E2 AA 03 F0 00 00 00 00 00 00 00 00 E2 AA 03 F0 E2 AA 03 F0
			39 00 2B E0 01 11 17 2E 30 35 2F 47 07 0D 10 14 16 14 15 13 19 0B 18 08 15 01 11 17 2E 30 35 2F 47 07 0D 10 14 16 14 15 13 19 0B 18 08 15
			39 00 03 B6 14 14
			15 00 02 CC 08
			05 78 01 11
			05 32 01 29
		];

		panel-exit-sequence = [
			05 14 01 28
			05 00 01 10
		];

		disp_timings0: display-timings {
			native-mode = <&dsi0_timing0>;
			dsi0_timing0: timing0 {
				clock-frequency = <140000000>;
				hactive = <1080>;
				vactive = <1920>;
				hfront-porch = <60>;
				hsync-len = <20>;
				hback-porch = <40>;
				vfront-porch = <10>;
				vsync-len = <2>;
				vback-porch = <6>;
				hsync-active = <0>;
				vsync-active = <0>;
				de-active = <0>;
				pixelclk-active = <0>;
			};
		};

		ports {
			#address-cells = <1>;
			#size-cells = <0>;

			port@0 {
				reg = <0>;
				panel_in_dsi: endpoint {
					remote-endpoint = <&dsi_out_panel>;
				};
			};
		};
	};

	ports {
		#address-cells = <1>;
		#size-cells = <0>;

		port@1 {
			reg = <1>;
			dsi_out_panel: endpoint {
				remote-endpoint = <&panel_in_dsi>;
			};
		};
	};
};

&dsi0_in_vp2 {
	status = "okay";
};

&dsi0_in_vp3 {
	status = "disabled";
};

&route_dsi0{
	status = "okay";
	connect = <&vp2_out_dsi0>;
};
